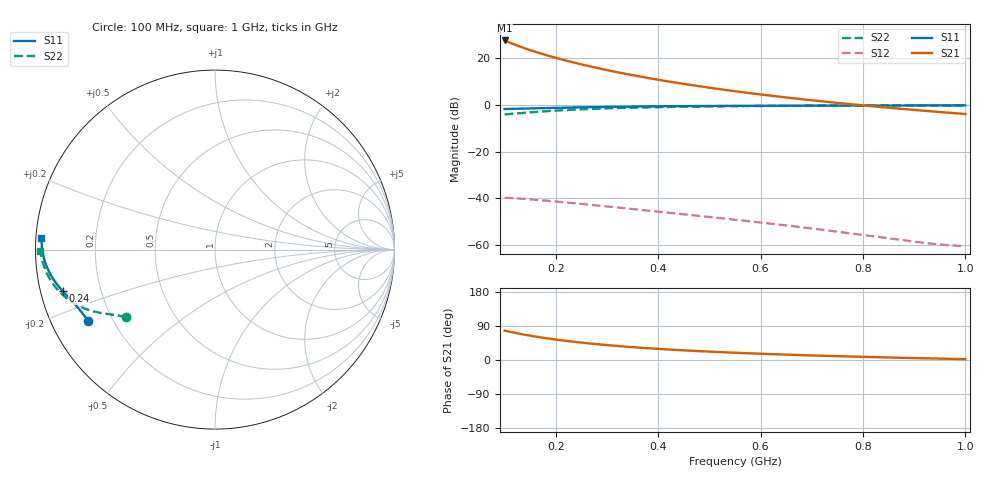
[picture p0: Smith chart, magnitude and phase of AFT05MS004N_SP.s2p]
! Copyright - Freescale Semiconductor, Inc., 2014
! 07/17/2014
! Rev.0
! AFT05MS004NT1 S-Parameters
! VDD = 7.5V, IDQ = 400mA
# hz S ma R 50
! freq  magS11  angS11  magS21  angS21  magS12  angS12  magS22  angS22
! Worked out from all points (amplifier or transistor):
!   181 points, 100 MHz to 1 GHz, reference 50 ohm
!   highest |S21| = 27.5 dB at 100 MHz (marker M1)
!   |S21| within 3 dB of that: start of sweep to 134.9 MHz
!   unconditionally stable (mu >= 1): 827.4 MHz to end of sweep
!   at 250 MHz: K = 0.13, MSG = 29.8 dB, |S12| = -42.4 dB
!   at 550 MHz: K = 0.38, MSG = 27.4 dB, |S12| = -49.1 dB
!   at 1 GHz: K = 1.70, MAG = 23.3 dB, |S12| = -60.4 dB
!   S11 on the Smith chart (normalised r, x): 100 MHz: 0.11, -0.26; 240 MHz: 0.07, -0.13; 1 GHz: 0.02, +0.03
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1e8  0.8107 -150.7  23.63 77.6  0.01036 -9.8  0.6213 -142.7
1.1e8  0.8148 -152.7  21.24 74.5  0.01022 -12.6  0.6348 -144.2
1.15e8  0.817 -153.5  20.19 73.1  0.01015 -13.9  0.6416 -144.8
1.25e8  0.8218 -155.1  18.32 70.3  0.009986 -16.4  0.6553 -146.0
1.3e8  0.8244 -155.8  17.49 69.0  0.009902 -17.6  0.6621 -146.5
1.4e8  0.8295 -157.0  15.99 66.5  0.009727 -19.8  0.6757 -147.5
1.55e8  0.8374 -158.6  14.09 63.0  0.009451 -22.9  0.6957 -148.9
1.65e8  0.8427 -159.5  13 60.8  0.009261 -24.8  0.7086 -149.7
1.75e8  0.848 -160.4  12.04 58.7  0.009068 -26.6  0.7211 -150.5
1.95e8  0.8582 -161.9  10.41 54.9  0.008677 -30.0  0.7448 -152.1
2.15e8  0.868 -163.2  9.084 51.3  0.008286 -32.9  0.7667 -153.6
2.4e8  0.8792 -164.7  7.746 47.4  0.007806 -36.2  0.7912 -155.3
2.5e8  0.8833 -165.2  7.29 45.9  0.007618 -37.4  0.8002 -155.9
2.8e8  0.8948 -166.7  6.133 41.8  0.007073 -40.6  0.8246 -157.8
3.15e8  0.9063 -168.3  5.09 37.6  0.006476 -43.7  0.8485 -159.8
3.55e8  0.9172 -169.9  4.185 33.4  0.005848 -46.6  0.8708 -161.9
4e8  0.9272 -171.4  3.42 29.3  0.005208 -49.1  0.8908 -164.0
4.65e8  0.9382 -173.4  2.631 24.4  0.004397 -51.5  0.9127 -166.7
5.5e8  0.9484 -175.6  1.946 19.1  0.003504 -52.9  0.9326 -169.6
7e8  0.9594 -178.8  1.246 12.0  0.002275 -50.0  0.9539 -173.7
8.5e8  0.9656 178.6  0.8644 6.6  0.001396 -36.5  0.9658 -176.9
1e9  0.9694 176.3  0.6345 2.2  0.0009535 -1.5  0.9731 -179.5
